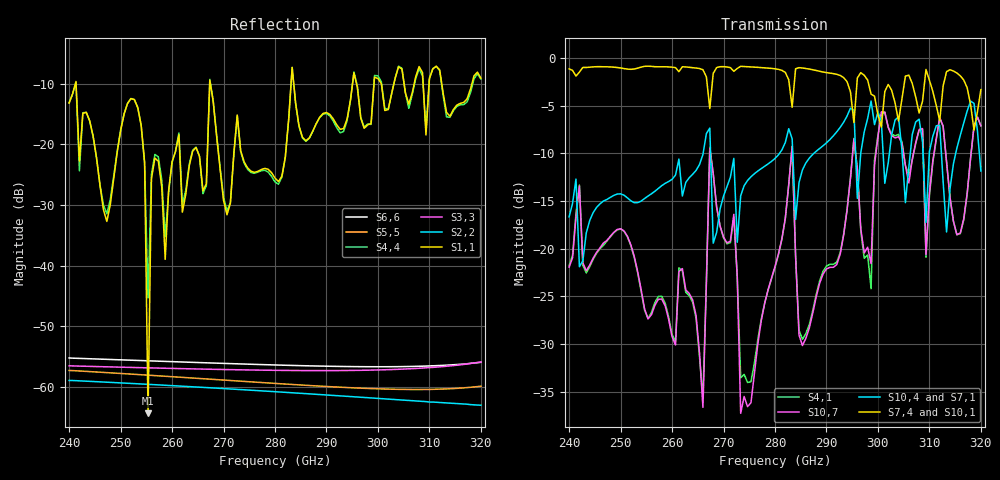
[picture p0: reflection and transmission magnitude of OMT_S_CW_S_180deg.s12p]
! Touchstone file exported from HFSS 2021.1.0
!  File:  D:/ANSYS/HFSS_work/cp_ant/260204_Cir_to_Rect_STEP_v3_fin.aedt
!  Generated:  8:40:42 %xC624%xD6C4  4 22, 2026
!  Design:  cir_to_rect_OMT_v13_GA7_opt_STEP_exp_QN2_S_CW_S_180deg
!  Project:  260204_Cir_to_Rect_STEP_v3_fin
!  Setup:  Setup1
!  Solution:  Sweep
! Variables:
!  diff_ws = 0.0610877997211628mm
!  fil_r = 100um
!  h1 = 0.291824400557674mm
!  h2 = 0.134mm
!  h3 = 0.176mm
!  l1 = 0.527mm
!  l2 = 0.275mm
!  l3 = 0.459mm
!  l4 = 0.313mm
!  l5 = 0.285999999999997mm
!  mov_x = 1mm
!  r_r = 6mm
!  sep_h1 = 0.775824400557674mm
!  sep_h2 = 0.484mm
!  sep_h3 = 0.35mm
!  sep_h4 = 0.174mm
!  sep_l = 1.373mm
!  sep_l1 = 1.9mm
!  sep_l2 = 2.175mm
!  sep_l3 = 2.634mm
!  sep_l4 = 2.947mm
!  sep_ll = 0.2004mm
!  sep_ll2 = 0.2505mm
!  sep_ll3 = 1mm
!  sep_w = 0.137mm
!  tr_l = 1.002mm
!  wc_d = 0.9906mm
!  wc_l = 3.8259mm
!  wg_x = 20mm
!  wr_l = 3.7156mm
!  ws_x = 0.8636mm
!  ws_x1 = 0.898mm
!  ws_x2 = 0.775824400557674mm
!  ws_x3 = 0.898mm
!  ws_y2 = 0.898mm
!  ws_z = 0
!  wsc_l = 2mm
!Data is not renormalized
! Terminal data exported
! Port[1] = rec1:1
! Port[2] = rec1:2
! Port[3] = rec1:3
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# GHz S MA
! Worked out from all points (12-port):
!   121 points, 240 GHz to 320 GHz, reference per port
!   strongest paths, dB at 240 GHz, 260 GHz, 280 GHz, 300 GHz, 320 GHz:
!     S7,4: -1.1, -1.0, -1.1, -6.0, -3.3
!     S10,1: -1.1, -1.0, -1.1, -5.7, -3.4
!     S10,4: -16.7, -12.7, -10.5, -5.6, -11.9
!     S7,1: -16.8, -12.7, -10.5, -5.7, -11.9
!     S10,7: -21.9, -29.2, -21.9, -8.3, -7.1
!     S4,1: -21.8, -29.0, -22.0, -8.1, -7.1
!   lowest |S11| = -64.3 dB at 255.3 GHz (marker M1), VSWR 1.00
!   |S11| at or under -10 dB: 241.4 GHz to 267.3 GHz (25.96 GHz wide, 10.2 % of centre); 267.4 GHz to 283.1 GHz (15.68 GHz wide, 5.7 % of centre); 283.6 GHz to 295.1 GHz (11.43 GHz wide, 3.95 % of centre)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
